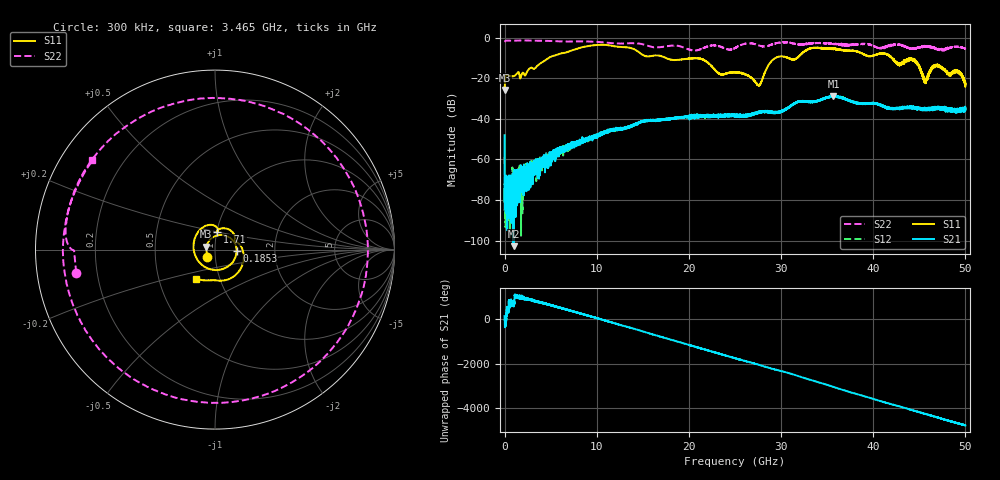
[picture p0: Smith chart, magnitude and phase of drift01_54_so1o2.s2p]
!Created with skrf (http://scikit-rf.org).
# Hz S RI R 50.0
!freq ReS11 ImS11 ReS21 ImS21 ReS12 ImS12 ReS22 ImS22
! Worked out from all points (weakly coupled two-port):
!   10001 points, 300 kHz to 50 GHz, reference 50 ohm
!   highest |S21| = -28.73 dB at 35.69 GHz (marker M1); lowest = -102.8 dB at 965.3 MHz (marker M2)
!   lowest |S11| = -25.8 dB at 5.3 MHz (marker M3), VSWR 1.11, Z = 45.3 + j1.41 ohm
!   |S11| at or under -10 dB: start of sweep to 4.765 GHz; 17.51 GHz to 29.4 GHz (11.88 GHz wide, 50.7 % of centre); 44.03 GHz to end of sweep (the widest 3 of 7)
!   |S22| runs from -6.4 to -1.4 dB; largest |S21 - S12| = 0.0048
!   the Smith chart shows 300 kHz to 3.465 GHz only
!   S11 on the Smith chart (normalised r, x): 300 kHz: 0.91, -0.08; 185.3 MHz: 1.27, -0.02; 1.71 GHz: 1.00, +0.20; 3.465 GHz: 0.77, -0.26
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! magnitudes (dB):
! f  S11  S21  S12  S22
! 300 kHz  -24.3  -48.1  -58.8  -2.1
! 5.3 MHz  -25.8  -71.7  -75.5  -2.1
! 185.3 MHz  -18.4  -68.0  -76.0  -1.4
! 255.3 MHz  -18.4  -73.9  -77.1  -1.4
! 965.3 MHz  -19.0  -102.8  -73.5  -1.5
! 1.71 GHz  -20.0  -66.1  -68.0  -1.4
! 3.465 GHz  -14.3  -64.5  -64.9  -1.5
! 8.335 GHz  -4.8  -51.6  -51.1  -1.8
! 16.67 GHz  -8.7  -40.8  -40.6  -4.8
! 21.2 GHz  -10.2  -38.1  -38.7  -5.8
! 25 GHz  -17.0  -37.9  -38.0  -5.1
! 27.59 GHz  -23.7  -36.7  -36.8  -3.8
! 29.28 GHz  -10.3  -36.7  -36.7  -2.9
! 31.45 GHz  -10.7  -32.3  -32.4  -3.0
! 33.34 GHz  -5.1  -31.4  -31.7  -2.7
! 35.69 GHz  -5.3  -28.7  -29.0  -3.2
! 41.67 GHz  -8.8  -34.7  -34.8  -4.4
! 42.75 GHz  -13.1  -35.0  -35.1  -3.4
! 44.42 GHz  -11.4  -34.8  -34.8  -5.3
! 45.63 GHz  -20.9  -34.9  -34.9  -4.3
! 46.94 GHz  -13.9  -34.3  -34.3  -5.4
! 50 GHz  -22.1  -34.8  -34.9  -5.3
